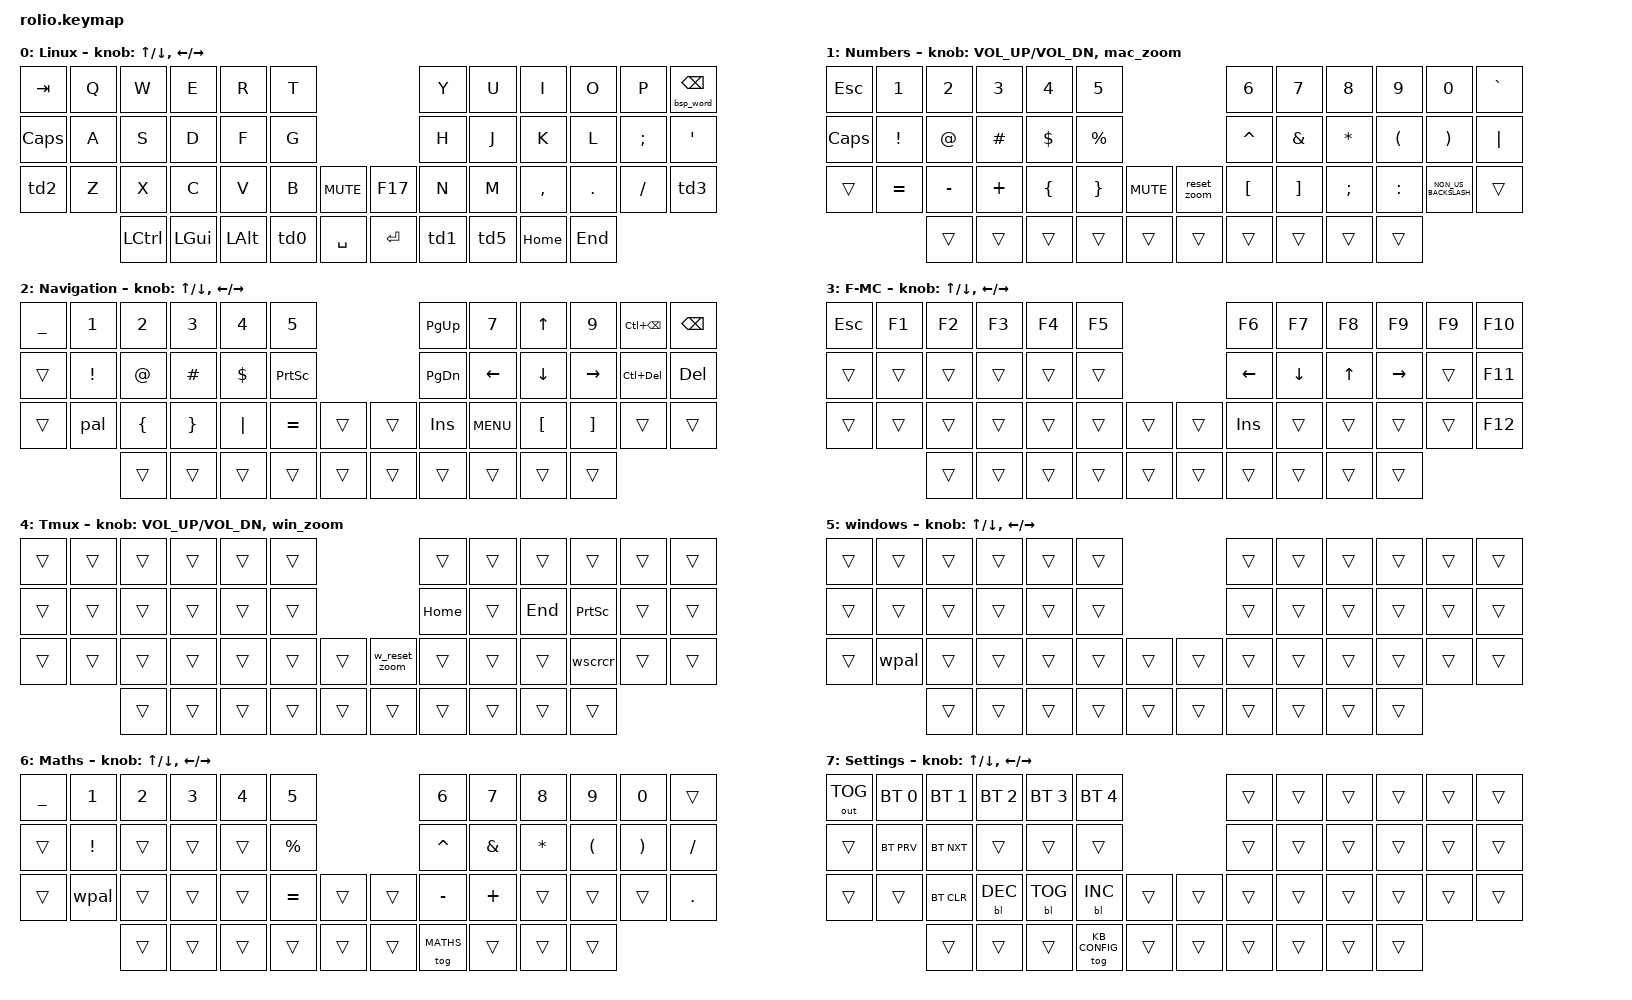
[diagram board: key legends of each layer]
/*
 * Copyright (c) 2020 The ZMK Contributors
 *
 * SPDX-License-Identifier: MIT
 */

#include <behaviors.dtsi>
#include <dt-bindings/zmk/backlight.h>
#include <dt-bindings/zmk/bt.h>
#include <dt-bindings/zmk/keys.h>
#include <dt-bindings/zmk/outputs.h>

#define MACOS     0
#define FKEYS     1
#define NUMBERS   2
#define WINDOWS   3
#define W_FKEYS   4
#define W_NUMBERS 5
#define MATHS     6
#define KB_CONFIG 7

/ {
    conditional_layers {
        compatible = "zmk,conditional-layers";

        win_fkeys {
            if-layers = <WINDOWS FKEYS>;
            then-layer = <W_FKEYS>;
        };

        win_numbers {
            if-layers = <WINDOWS NUMBERS>;
            then-layer = <W_NUMBERS>;
        };
    };

    behaviors {
        // Toggle F-Keys Layer

        td0: tap_dance_0 {
            compatible = "zmk,behavior-tap-dance";
            label = "TAP_DANCE_0";
            #binding-cells = <0>;
            tapping-term-ms = <300>;
            bindings = <&mo FKEYS>, <&tog FKEYS>, <&tog KB_CONFIG>;
        };

        // Toggle Numbers layer

        td1: tap_dance_1 {
            compatible = "zmk,behavior-tap-dance";
            label = "TAP_DANCE_1";
            #binding-cells = <0>;
            tapping-term-ms = <300>;
            bindings = <&mo NUMBERS>, <&tog 2>, <&tog NUMBERS>;
        };

        // Toggle capsword left

        td2: tap_dance_2 {
            compatible = "zmk,behavior-tap-dance";
            label = "TAP_DANCE_2";
            #binding-cells = <0>;
            tapping-term-ms = <200>;
            bindings = <&kp LSHFT>, <&caps_word>;
        };

        // Toggle capsword right

        td3: tap_dance_3 {
            compatible = "zmk,behavior-tap-dance";
            label = "TAP_DANCE_3";
            #binding-cells = <0>;
            tapping-term-ms = <200>;
            bindings = <&kp RSHFT>, <&caps_word>;
        };

        // Toggle Windows layer

        td4: tap_dance_4 {
            compatible = "zmk,behavior-tap-dance";
            label = "TAP_DANCE_4";
            #binding-cells = <0>;
            tapping-term-ms = <200>;
            bindings = <&kp LGUI>, <&tog WINDOWS>;
        };

        // Toggle Windows layer

        td5: tap_dance_5 {
            compatible = "zmk,behavior-tap-dance";
            label = "TAP_DANCE_5";
            #binding-cells = <0>;
            tapping-term-ms = <200>;
            bindings = <&mo 3>, <&tog WINDOWS>;
        };

        // Backspace a whole word when holding backspace

        backspace_word: backspace_word {
            compatible = "zmk,behavior-hold-tap";
            label = "BACKSPACE_WORD";
            #binding-cells = <2>;
            tapping_term_ms = <135>;
            quick_tap_ms = <0>;
            flavor = "tap-preferred";
            bindings = <&bsp_word>, <&kp>;
        };

        w_backspace_word: w_backspace_word {
            compatible = "zmk,behavior-hold-tap";
            label = "WINDOWS_BACKSPACE_WORD";
            #binding-cells = <2>;
            tapping_term_ms = <135>;
            quick_tap_ms = <0>;
            flavor = "tap-preferred";
            bindings = <&w_bsp_word>, <&kp>;
        };

        //Mac OS Zoom

        mac_zoom: mac_zoom {
            compatible = "zmk,behavior-sensor-rotate";
            label = "MAC_ZOOM";
            #sensor-binding-cells = <0>;
            bindings = <&zoom_in>, <&zoom_out>;
        };

        //Windows OS Zoom

        win_zoom: win_zoom {
            compatible = "zmk,behavior-sensor-rotate";
            label = "WINDOWS_ZOOM";
            #sensor-binding-cells = <0>;
            bindings = <&w_zoom_in>, <&w_zoom_out>;
        };
    };

    macros {
        unindent: unindent {
            label = "UNINDENT";
            compatible = "zmk,behavior-macro";
            #binding-cells = <0>;
            bindings =
                <&macro_press>,
                <&kp LSHIFT>,
                <&macro_tap>,
                <&kp TAB>,
                <&macro_release>,
                <&kp LSHIFT>;
        };

        lstart: lstart {
            label = "Line_Start";
            compatible = "zmk,behavior-macro";
            #binding-cells = <0>;
            bindings =
                <&macro_press>,
                <&kp LGUI>,
                <&macro_tap>,
                <&kp LEFT>,
                <&macro_release>,
                <&kp LGUI>;
        };

        lend: lend {
            label = "Line_End";
            compatible = "zmk,behavior-macro";
            #binding-cells = <0>;
            bindings =
                <&macro_press>,
                <&kp LGUI>,
                <&macro_tap>,
                <&kp RIGHT>,
                <&macro_release>,
                <&kp LGUI>;
        };

        scrsh: scrsh {
            label = "Screenshot";
            compatible = "zmk,behavior-macro";
            #binding-cells = <0>;
            bindings =
                <&macro_press>,
                <&kp LGUI>,
                <&macro_press>,
                <&kp LSHIFT>,
                <&macro_tap>,
                <&kp N3>,
                <&macro_release>,
                <&kp LSHFT>,
                <&macro_release>,
                <&kp LGUI>;
        };

        scrcr: scrcr {
            label = "Screen_Crop";
            compatible = "zmk,behavior-macro";
            #binding-cells = <0>;
            bindings =
                <&macro_press>,
                <&kp LGUI>,
                <&macro_press>,
                <&kp LSHIFT>,
                <&macro_tap>,
                <&kp N4>,
                <&macro_release>,
                <&kp LSHFT>,
                <&macro_release>,
                <&kp LGUI>;
        };

        wscrcr: wscrcr {
            label = "Windows_Screen_Crop";
            compatible = "zmk,behavior-macro";
            #binding-cells = <0>;
            bindings =
                <&macro_press>,
                <&kp LGUI>,
                <&macro_press>,
                <&kp LSHIFT>,
                <&macro_tap>,
                <&kp S>,
                <&macro_release>,
                <&kp LSHFT>,
                <&macro_release>,
                <&kp LGUI>;
        };

        pal: pal {
            label = "Pallette";
            compatible = "zmk,behavior-macro";
            #binding-cells = <0>;
            bindings =
                <&macro_press>,
                <&kp LGUI>,
                <&macro_press>,
                <&kp LCTRL>,
                <&macro_tap>,
                <&kp SPACE>,
                <&macro_release>,
                <&kp LCTRL>,
                <&macro_release>,
                <&kp LGUI>;
        };

        wpal: wpal {
            label = "W_Pallette";
            compatible = "zmk,behavior-macro";
            #binding-cells = <0>;
            bindings =
                <&macro_press>,
                <&kp LGUI>,
                <&macro_tap>,
                <&kp DOT>,
                <&macro_release>,
                <&kp LGUI>;
        };

        // Word backspace macros

        bsp_word: bsp_word {
            label = "BSP_WORD";
            compatible = "zmk,behavior-macro";
            #binding-cells = <0>;
            bindings =
                <&macro_press>,
                <&kp LALT>,
                <&macro_tap>,
                <&kp BSPC>,
                <&macro_release>,
                <&kp LALT>;
        };

        w_bsp_word: w_bsp_word {
            label = "W_BSP_WORD";
            compatible = "zmk,behavior-macro";
            #binding-cells = <0>;
            bindings =
                <&macro_press>,
                <&kp LCTRL>,
                <&macro_tap>,
                <&kp BSPC>,
                <&macro_release>,
                <&kp LCTRL>;
        };

        // Zoom macros

        zoom_in: zoom_in {
            label = "ZOOM_IN";
            compatible = "zmk,behavior-macro";
            #binding-cells = <0>;
            bindings =
                <&macro_press>,
                <&kp LGUI>,
                <&macro_tap>,
                <&kp EQUAL>,
                <&macro_release>,
                <&kp LGUI>;
        };

        zoom_out: zoom_out {
            label = "ZOOM_OUT";
            compatible = "zmk,behavior-macro";
            #binding-cells = <0>;
            bindings =
                <&macro_press>,
                <&kp LGUI>,
                <&macro_tap>,
                <&kp MINUS>,
                <&macro_release>,
                <&kp LGUI>;
        };

        reset_zoom: reset_zoom {
            label = "RESET_ZOOM";
            compatible = "zmk,behavior-macro";
            #binding-cells = <0>;
            bindings =
                <&macro_press>,
                <&kp LGUI>,
                <&macro_tap>,
                <&kp N0>,
                <&macro_release>,
                <&kp LGUI>;
        };

        w_zoom_in: w_zoom_in {
            label = "WINDOWS_ZOOM_IN";
            compatible = "zmk,behavior-macro";
            #binding-cells = <0>;
            bindings =
                <&macro_press>,
                <&kp LCTRL>,
                <&macro_tap>,
                <&kp EQUAL>,
                <&macro_release>,
                <&kp LCTRL>;
        };

        w_zoom_out: w_zoom_out {
            label = "WINDOWS_ZOOM_OUT";
            compatible = "zmk,behavior-macro";
            #binding-cells = <0>;
            bindings =
                <&macro_press>,
                <&kp LCTRL>,
                <&macro_tap>,
                <&kp MINUS>,
                <&macro_release>,
                <&kp LCTRL>;
        };

        w_reset_zoom: w_reset_zoom {
            label = "WINDOWS_RESET_ZOOM";
            compatible = "zmk,behavior-macro";
            #binding-cells = <0>;
            bindings =
                <&macro_press>,
                <&kp LCTRL>,
                <&macro_tap>,
                <&kp N0>,
                <&macro_release>,
                <&kp LCTRL>;
        };
    };

    keymap {
        compatible = "zmk,keymap";

        default_layer {
            label = "Linux";
            sensor-bindings = <&inc_dec_kp UP DOWN &inc_dec_kp LEFT RIGHT>;
            bindings = <
&kp TAB   &kp Q  &kp W             &kp E     &kp R         &kp T                         &kp Y  &kp U  &kp I      &kp O    &kp P     &backspace_word 0 BSPC
&kp CAPS  &kp A  &kp S             &kp D     &kp F         &kp G                         &kp H  &kp J  &kp K      &kp L    &kp SEMI  &kp SQT
&td2      &kp Z  &kp X             &kp C     &kp V         &kp B  &kp C_MUTE  &kp F17    &kp N  &kp M  &kp COMMA  &kp DOT  &kp FSLH  &td3
                 &kp LEFT_CONTROL  &kp LGUI  &kp LEFT_ALT  &td0   &kp SPACE   &kp ENTER  &td1   &td5   &kp HOME   &kp END
            >;
        };

        numbers_layer {
            label = "Numbers";
            sensor-bindings = <&inc_dec_kp C_VOL_UP C_VOL_DN &mac_zoom>;
            bindings = <
&kp ESCAPE    &kp NUMBER_1     &kp NUMBER_2  &kp NUMBER_3  &kp NUMBER_4    &kp NUMBER_5                              &kp NUMBER_6      &kp NUMBER_7       &kp NUMBER_8   &kp N9                &kp NUMBER_0           &kp GRAVE
&kp CAPSLOCK  &kp EXCLAMATION  &kp AT_SIGN   &kp HASH      &kp DOLLAR      &kp PERCENT                               &kp CARET         &kp AMPERSAND      &kp ASTERISK   &kp LEFT_PARENTHESIS  &kp RIGHT_PARENTHESIS  &kp PIPE
&trans        &kp EQUAL        &kp MINUS     &kp PLUS      &kp LEFT_BRACE  &kp RIGHT_BRACE  &kp C_MUTE  &reset_zoom  &kp LEFT_BRACKET  &kp RIGHT_BRACKET  &kp SEMICOLON  &kp COLON             &kp NON_US_BACKSLASH   &trans
                               &trans        &trans        &trans          &trans           &trans      &trans       &trans            &trans             &trans         &trans
            >;
        };

        navigation_layer {
            label = "Navigation";
            sensor-bindings = <&inc_dec_kp UP DOWN &inc_dec_kp LEFT RIGHT>;
            bindings = <
&kp UNDER  &kp N1    &kp N2          &kp N3           &kp N4    &kp N5                           &kp PAGE_UP    &kp N7      &kp UP_ARROW  &kp N9     &kp LC(BACKSPACE)  &kp BACKSPACE
&trans     &kp EXCL  &kp AT          &kp HASH         &kp DLLR  &kp PRINTSCREEN                  &kp PAGE_DOWN  &kp LEFT    &kp DOWN      &kp RIGHT  &kp LC(DEL)        &kp DELETE
&trans     &pal      &kp LEFT_BRACE  &kp RIGHT_BRACE  &kp PIPE  &kp EQUAL        &trans  &trans  &kp INSERT     &kp K_MENU  &kp LBKT      &kp RBKT   &trans             &trans
                     &trans          &trans           &trans    &trans           &trans  &trans  &trans         &trans      &trans        &trans
            >;
        };

        F_layer {
            label = "F-MC";
            sensor-bindings = <&inc_dec_kp UP DOWN &inc_dec_kp LEFT RIGHT>;
            bindings = <
&kp ESCAPE  &kp F1  &kp F2  &kp F3  &kp F4  &kp F5                  &kp F6          &kp F7          &kp F8        &kp F9     &kp F9  &kp F10
&trans      &trans  &trans  &trans  &trans  &trans                  &kp LEFT_ARROW  &kp DOWN_ARROW  &kp UP_ARROW  &kp RIGHT  &trans  &kp F11
&trans      &trans  &trans  &trans  &trans  &trans  &trans  &trans  &kp INSERT      &trans          &trans        &trans     &trans  &kp F12
                    &trans  &trans  &trans  &trans  &trans  &trans  &trans          &trans          &trans        &trans
            >;
        };

        Tmux_layer {
            label = "Tmux";
            sensor-bindings = <&inc_dec_kp C_VOL_UP C_VOL_DN &win_zoom>;
            bindings = <
&trans  &trans  &trans  &trans  &trans  &trans                         &trans    &trans  &trans   &trans     &trans  &trans
&trans  &trans  &trans  &trans  &trans  &trans                         &kp HOME  &trans  &kp END  &kp PSCRN  &trans  &trans
&trans  &trans  &trans  &trans  &trans  &trans  &trans  &w_reset_zoom  &trans    &trans  &trans   &wscrcr    &trans  &trans
                &trans  &trans  &trans  &trans  &trans  &trans         &trans    &trans  &trans   &trans
            >;
        };

        windows_layer {
            label = "windows";
            sensor-bindings = <&inc_dec_kp UP DOWN &inc_dec_kp LEFT RIGHT>;
            bindings = <
&trans  &trans  &trans  &trans  &trans  &trans                  &trans  &trans  &trans  &trans  &trans  &trans
&trans  &trans  &trans  &trans  &trans  &trans                  &trans  &trans  &trans  &trans  &trans  &trans
&trans  &wpal   &trans  &trans  &trans  &trans  &trans  &trans  &trans  &trans  &trans  &trans  &trans  &trans
                &trans  &trans  &trans  &trans  &trans  &trans  &trans  &trans  &trans  &trans
            >;
        };

        maths_layer {
            label = "Maths";
            sensor-bindings = <&inc_dec_kp UP DOWN &inc_dec_kp LEFT RIGHT>;
            bindings = <
&kp UNDER  &kp N1    &kp N2  &kp N3  &kp N4  &kp N5                     &kp N6      &kp N7         &kp N8    &kp N9    &kp N0    &trans
&trans     &kp EXCL  &trans  &trans  &trans  &kp PRCNT                  &kp CARET   &kp AMPERSAND  &kp STAR  &kp LPAR  &kp RPAR  &kp FSLH
&trans     &wpal     &trans  &trans  &trans  &kp EQUAL  &trans  &trans  &kp MINUS   &kp PLUS       &trans    &trans    &trans    &kp DOT
                     &trans  &trans  &trans  &trans     &trans  &trans  &tog MATHS  &trans         &trans    &trans
            >;
        };

        settings_layer {
            label = "Settings";
            sensor-bindings = <&inc_dec_kp UP DOWN &inc_dec_kp LEFT RIGHT>;
            bindings = <
&out OUT_TOG  &bt BT_SEL 0  &bt BT_SEL 1  &bt BT_SEL 2  &bt BT_SEL 3  &bt BT_SEL 4                    &trans  &trans  &trans  &trans  &trans  &trans
&trans        &bt BT_PRV    &bt BT_NXT    &trans        &trans        &trans                          &trans  &trans  &trans  &trans  &trans  &trans
&trans        &trans        &bt BT_CLR    &bl BL_DEC    &bl BL_TOG    &bl BL_INC      &trans  &trans  &trans  &trans  &trans  &trans  &trans  &trans
                            &trans        &trans        &trans        &tog KB_CONFIG  &trans  &trans  &trans  &trans  &trans  &trans
            >;
        };
    };
};
